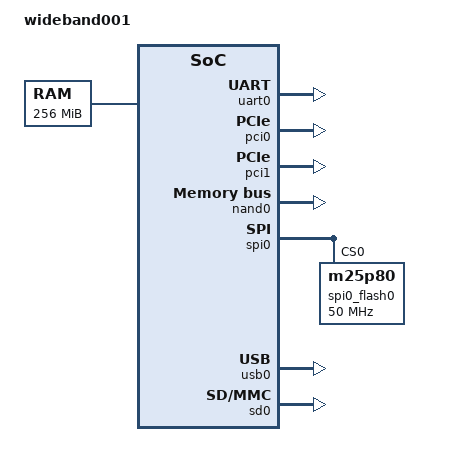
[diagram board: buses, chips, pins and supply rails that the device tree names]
/*
 * Copyright (C) 2014 Faraday, Inc. (www.faraday-tech.com)
 *
 * This program is free software; you can redistribute it and/or modify
 * it under the terms of the GNU General Public License version 2 as
 * published by the Free Software Foundation.
 */
 /dts-v1/;

#include <dt-bindings/interrupt-controller/arm-gic.h>

/  {
	model = "wideband001";
	compatible = "arm,faraday-soc";
	u-boot,dm-pre-reloc;
	interrupt-parent = <&gic>;
	#address-cells = <1>;
	#size-cells = <1>;
	
	aliases {
		serial0 = &uart0;
		spi0 = &spi0;
	};
	
	cpus {
		#address-cells = <1>;
		#size-cells = <0>;

		cpu@0 {
			device_type = "cpu";
			compatible = "arm,cortex-a9";
			reg = <0>;
		};
	};

	memory@80000000 {
		device_type = "memory";
		reg = <0x80000000 0x10000000>;
	};

	gic: interrupt-controller@3a001000 {
		compatible = "arm,cortex-a9-gic";
		interrupt-controller;
		#interrupt-cells = <3>;
		#address-cells = <1>;
		reg = <0x3a001000 0x1000>,
		      <0x3a000100 0x100>;
		interrupts = <GIC_PPI 9 0xf04>;
	};

	chosen {
		bootargs = "mem=256M console=ttyS0,115200";
		stdout-path = "serial0:115200n8";
		tick-timer = &timer0;
	};
	
	timer0: timer@04f00000 {
		compatible = "faraday,fttmr010-timer";
		reg = <0x04f00000 0x1000>;
		interrupts = <GIC_SPI 15 IRQ_TYPE_LEVEL_HIGH>;
	};

	uart0: uart@04700000 {
		compatible = "ns16550a";
		clock-frequency = <31250000>;
		reg = <0x04700000 0x1000>;
		reg-offset = <0>;
		reg-shift = <2>;
		reg-io-width = <4>;
		no-loopback-test;
		interrupts = <GIC_SPI 16 IRQ_TYPE_LEVEL_HIGH>;
	};

	pci0: pci@36400000 {
		compatible = "faraday,pci_ftpcie_cdng2";
		#address-cells = <2>;
		#size-cells = <1>;
		ranges = <0x02000000 0x0 0x11000000 0x10000000>;
		reg = <0x04100000 0x00001000>,
		      <0x10000000 0x02000000>,
		      <0x36400000 0x00001000>,
		      <0x05000000 0x00001000>,
		      <0x05100000 0x00001000>,
		      <0x05400000 0x00001000>,
		      <0x36100000 0x00040000>;
	};

	pci1: pci@36500000 {
		compatible = "faraday,pci_ftpcie_cdng2";
		#address-cells = <2>;
		#size-cells = <1>;
		ranges = <0x02000000 0x0 0x21000000 0x10000000>;
		reg = <0x04100000 0x00001000>,
		      <0x20000000 0x02000000>,
		      <0x36500000 0x00001000>,
		      <0x05800000 0x00001000>,
		      <0x05900000 0x00001000>,
		      <0x05c00000 0x00001000>,
		      <0x36200000 0x00040000>;
	};

	nand0: nand@08300000 {
		compatible = "ftnandc024";
		reg = <0x08300000 0x00200000>,
		      <0x08200000 0x00001000>;
		sel_ce = <0>;
		rac = <3>;
		cac = <2>;
		ecc_bits_dat = <4>;
		ecc_bits_oob = <1>;
		bi_reserve = <1>;
	};

	spi0: spi@08400000 {
		compatible = "faraday,ftspi020_spi";
		reg = <0x08400000 0x200>;
		num-cs = <4>;
		cs = <0>;
		max_hz = <20000000>;
		interrupts = <GIC_SPI 10 IRQ_TYPE_LEVEL_HIGH>;
		#address-cells = <1>;
		#size-cells = <0>;
		spi0_flash0: spi0_flash0@0 {
			compatible = "m25p80";
			#address-cells = <1>;
			#size-cells = <1>;
			spi-max-frequency = <50000000>;
			reg = <0>;
		};
	};

	usb0: usb@30000000 {
		compatible = "xhci-plat";
		reg = <0x30000000 0x10000>;
		interrupts = <GIC_SPI 23 IRQ_TYPE_LEVEL_HIGH>;
	};

	sd0: sd@08100000 {
		compatible = "faraday,ftsdc021-sdhci";
		reg = <0x08100000 0x1000>;
		interrupts = <GIC_SPI 9 IRQ_TYPE_LEVEL_HIGH>;
	};
};
